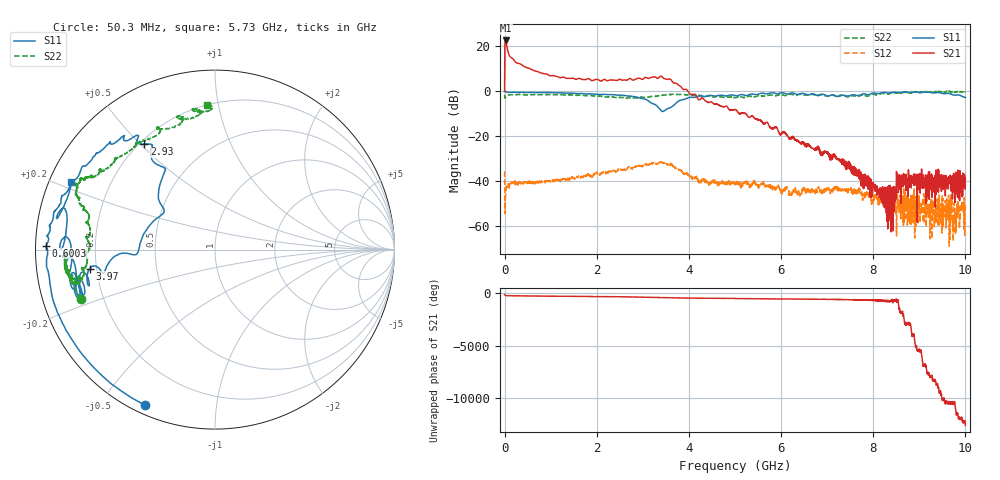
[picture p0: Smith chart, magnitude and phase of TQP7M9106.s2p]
! TriQuint Semiconductor
! TQP7M9106 Power Amplifier
! 24-pin QFN Package
! The data is for the unmatched device in a 50 Ohm system, 2-port file de-embedded to the device leads.
! Device bias: +5V V @ 455 mA Icq
! Temperature: 25C
!  Port 1 corresponds to Pins 4 and 5 on TQP7M9106 (RF input)
!  Port 2 corresponds to Pins 14, 15 and 16 on TQP7M9106 (RF output)
! All data in (Magnitude/Angle) format
! freq-unit  param-type  data-format  keyword  impedance-ohms
! GHz		S-param		Mag/Angle		50 Ohms
# Hz S dB R 50
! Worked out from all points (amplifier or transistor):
!   2001 points, 300 kHz to 10 GHz, reference 50 ohm
!   highest |S21| = 22.6 dB at 20.3 MHz (marker M1)
!   |S21| within 3 dB of that: 5.246 MHz to 51.88 MHz (46.63 MHz wide, 163 % of centre)
!   unconditionally stable (mu >= 1): 991.8 MHz to 9.39 GHz; 9.42 GHz to 9.629 GHz; 9.631 GHz to end of sweep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
!   at 1.665 GHz: K = 1.49, MAG = 17.7 dB, |S12| = -38.3 dB
!   at 5 GHz: K = 24.78, MAG = -0.7 dB, |S12| = -40.6 dB
!   at 10 GHz: K = 576.91, MAG = -24.8 dB, |S12| = -50.3 dB
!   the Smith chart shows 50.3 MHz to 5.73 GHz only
!   S11 on the Smith chart (normalised r, x): 50.3 MHz: 0.04, -0.65; 600.3 MHz: 0.03, +0.01; 2.93 GHz: 0.22, +0.51; 3.97 GHz: 0.17, -0.07; 5.73 GHz: 0.06, +0.22
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300000  0.02 -0.3  -0.25 -105.6  -35.69 -161.7  -1.59 -2.3
2.02994e7  -0.25 -62.2  22.62 174.5  -46.84 68.6  -2.65 -133.8
5.02985e7  -0.44 -114.2  19.78 144.7  -42.10 39.1  -1.98 -159.9
6.02982e7  -0.49 -124.0  18.75 141.2  -42.15 32.1  -1.86 -163.6
8.02976e7  -0.52 -137.5  17.16 138.8  -41.42 25.2  -1.66 -167.6
1.152966e8  -0.52 -150.5  15.49 139.3  -41.12 19.1  -1.64 -171.1
2.052938e8  -0.51 -164.9  13.73 131.6  -40.91 3.7  -1.58 -175.5
4.102877e8  -0.53 -176.6  11.20 121.2  -41.17 4.1  -1.57 -178.2
6.00282e8  -0.53 178.7  9.50 112.3  -41.24 0.8  -1.56 -176.2
9.452716e8  -0.63 172.3  7.31 98.3  -40.16 2.2  -1.54 -175.1
1.67025e9  -1.04 154.3  5.30 75.0  -37.98 -12.9  -1.76 -167.6
2.930212e9  -3.01 123.8  5.80 16.0  -33.52 -63.6  -2.83 168.2
3.3352e9  -7.22 136.4  5.76 -15.8  -32.14 -100.1  -2.09 161.3
3.605192e9  -7.29 -177.6  5.26 -53.6  -32.57 -137.5  -1.45 155.5
3.970181e9  -3.02 -171.3  0.25 -85.5  -36.93 -178.0  -1.66 151.9
5.00015e9  -2.03 -167.4  -8.19 -121.3  -40.58 127.3  -2.93 117.5
5.730128e9  -1.06 155.0  -14.97 -165.5  -42.78 68.9  -1.84 93.0
6.6701e9  -1.24 137.8  -25.31 166.5  -43.13 44.7  -1.41 95.2
8.33505e9  -0.80 62.1  -57.92 -24.2  -49.98 -41.7  -1.23 36.6
8.555043e9  -0.67 65.0  -42.07 -166.5  -48.99 -24.2  -0.99 43.6
9.405018e9  -0.60 82.4  -44.81 106.9  -60.22 -114.8  -0.15 89.2
1e10  -2.83 69.8  -38.69 -5.2  -50.33 23.1  -0.39 134.7
